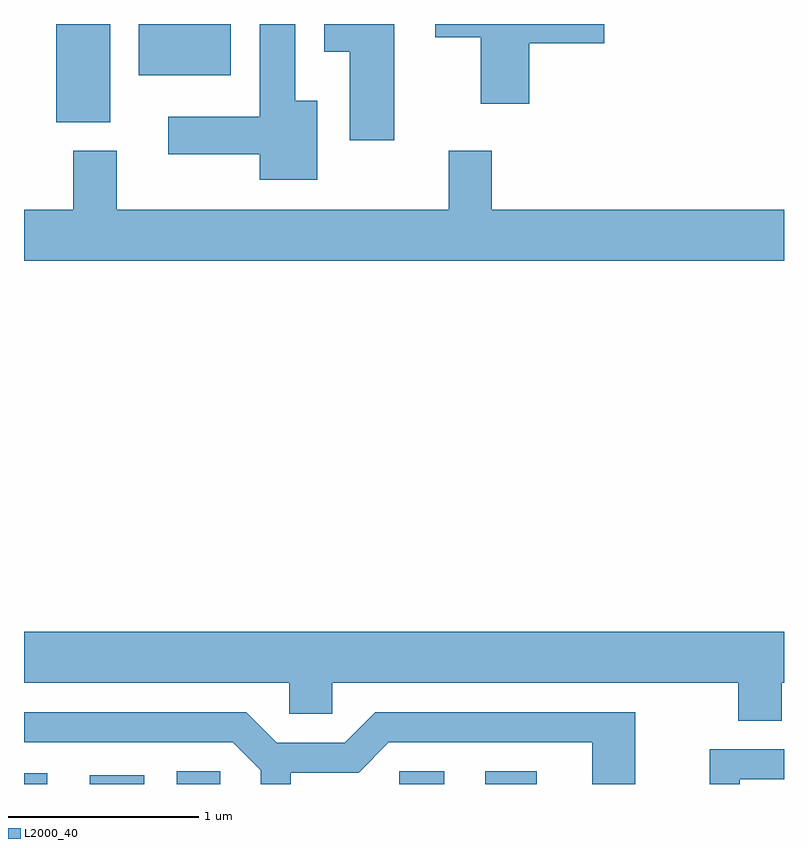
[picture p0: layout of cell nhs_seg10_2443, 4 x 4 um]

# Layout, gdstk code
import gdstk
lib = gdstk.Library(unit=1e-6, precision=1e-09)
def R(c, l, rs):  # rectangles x0, y0, x1, y1
    for r in rs: c.add(gdstk.rectangle(r[:2], r[2:], *l))
def P(c, l, *ps):  # polygons
    for p in ps: c.add(gdstk.Polygon(p, *l))
L2000_40 = (2000, 40)

nhs_seg10_2443 = lib.new_cell('nhs_seg10_2443')
R(nhs_seg10_2443, L2000_40, [(257.611,2084.522,257.734,2084.579), (257.957,2084.522,258.244,2084.569), (258.416,2084.522,258.644,2084.589), (259.587,2084.522,259.824,2084.589), (260.038,2084.522,260.309,2084.589), (257.781,2088.006,258.064,2088.522), (258.216,2088.251,258.699,2088.522)])
P(nhs_seg10_2443, L2000_40, [(259.559,2088.522),(259.191,2088.522),(259.191,2088.376),(259.326,2088.376),(259.326,2087.911),(259.559,2087.911)],
  [(260.269,2088.421),(260.664,2088.421),(260.664,2088.522),(259.776,2088.522),(259.776,2088.451),(260.016,2088.451),(260.016,2088.101),(260.269,2088.101)],
  [(259.154,2088.119),(259.039,2088.119),(259.039,2088.522),(258.851,2088.522),(258.851,2088.034),(258.371,2088.034),(258.371,2087.836),(258.851,2087.836),(258.851,2087.701),(259.154,2087.701)],
  [(261.611,2087.544),(260.074,2087.544),(260.074,2087.854),(259.846,2087.854),(259.846,2087.544),(258.099,2087.544),(258.099,2087.854),(257.871,2087.854),(257.871,2087.544),(257.611,2087.544),(257.611,2087.276),(261.611,2087.276)],
  [(261.599,2085.056),(261.611,2085.056),(261.611,2085.324),(257.611,2085.324),(257.611,2085.056),(259.006,2085.056),(259.006,2084.891),(259.234,2084.891),(259.234,2085.056),(261.371,2085.056),(261.371,2084.856),(261.599,2084.856)],
  [(259.014,2084.581),(259.372,2084.581),(259.532,2084.741),(260.601,2084.741),(260.601,2084.522),(260.829,2084.522),(260.829,2084.899),(259.459,2084.899),(259.299,2084.739),(258.942,2084.739),(258.782,2084.899),(257.611,2084.899),(257.611,2084.741),(258.709,2084.741),(258.856,2084.594),(258.856,2084.522),(259.014,2084.522)],
  [(261.379,2084.546),(261.611,2084.546),(261.611,2084.704),(261.221,2084.704),(261.221,2084.522),(261.379,2084.522)])

lib.write_gds('nhs_seg10_2443.gds')
